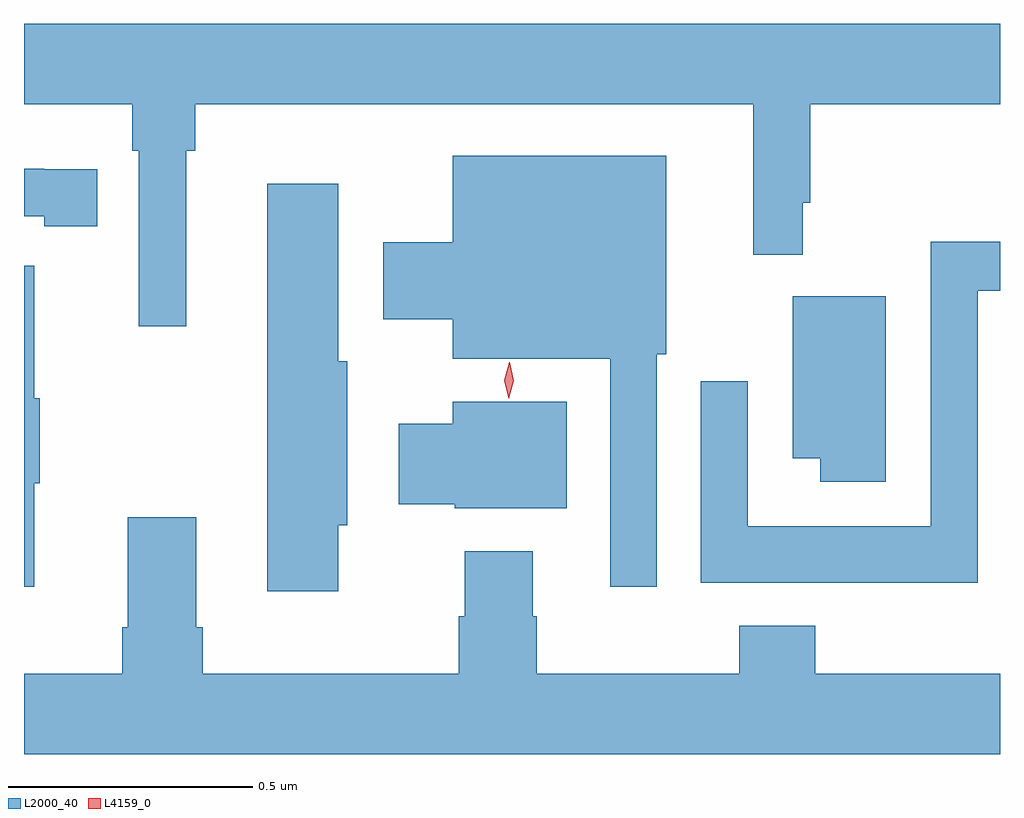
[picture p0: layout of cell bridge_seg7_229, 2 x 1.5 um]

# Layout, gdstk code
import gdstk
lib = gdstk.Library(unit=1e-6, precision=1e-09)
def P(c, l, *ps):  # polygons
    for p in ps: c.add(gdstk.Polygon(p, *l))
L2000_40 = (2000, 40)
L4159_0 = (4159, 0)

bridge_seg7_229 = lib.new_cell('bridge_seg7_229')
P(bridge_seg7_229, L2000_40, [(258.412,1004.516),(258.431,1004.516),(258.431,1004.612),(259.574,1004.612),(259.574,1004.303),(259.676,1004.303),(259.676,1004.41),(259.691,1004.41),(259.691,1004.612),(260.08,1004.612),(260.08,1004.776),(258.08,1004.776),(258.08,1004.612),(258.302,1004.612),(258.302,1004.516),(258.315,1004.516),(258.315,1004.157),(258.412,1004.157)],
  [(259.377,1004.099),(259.396,1004.099),(259.396,1004.506),(258.959,1004.506),(258.959,1004.329),(258.816,1004.329),(258.816,1004.171),(258.959,1004.171),(258.959,1004.09),(259.281,1004.09),(259.281,1003.623),(259.377,1003.623)],
  [(258.23,1004.478),(258.122,1004.478),(258.122,1004.479),(258.08,1004.479),(258.08,1004.382),(258.122,1004.382),(258.122,1004.362),(258.23,1004.362)],
  [(258.724,1003.749),(258.742,1003.749),(258.742,1004.085),(258.724,1004.085),(258.724,1004.449),(258.578,1004.449),(258.578,1003.614),(258.724,1003.614)],
  [(260.034,1004.229),(260.08,1004.229),(260.08,1004.33),(259.938,1004.33),(259.938,1003.747),(259.563,1003.747),(259.563,1004.044),(259.467,1004.044),(259.467,1003.631),(260.034,1003.631)],
  [(258.101,1003.835),(258.112,1003.835),(258.112,1004.009),(258.101,1004.009),(258.101,1004.281),(258.08,1004.281),(258.08,1003.623),(258.101,1003.623)],
  [(259.846,1004.218),(259.655,1004.218),(259.655,1003.886),(259.712,1003.886),(259.712,1003.838),(259.846,1003.838)],
  [(259.192,1004.002),(258.959,1004.002),(258.959,1003.957),(258.848,1003.957),(258.848,1003.792),(258.963,1003.792),(258.963,1003.784),(259.192,1003.784)],
  [(260.08,1003.444),(259.701,1003.444),(259.701,1003.543),(259.546,1003.543),(259.546,1003.444),(259.131,1003.444),(259.131,1003.562),(259.123,1003.562),(259.123,1003.696),(258.983,1003.696),(258.983,1003.562),(258.971,1003.562),(258.971,1003.444),(258.446,1003.444),(258.446,1003.54),(258.433,1003.54),(258.433,1003.765),(258.293,1003.765),(258.293,1003.54),(258.281,1003.54),(258.281,1003.444),(258.08,1003.444),(258.08,1003.28),(260.08,1003.28)])
P(bridge_seg7_229, L4159_0, [(259.073,1004.008),(259.073,1004.008),(259.064,1004.046),(259.074,1004.083),(259.074,1004.083),(259.075,1004.083),(259.084,1004.045),(259.073,1004.008)])

lib.write_gds('bridge_seg7_229.gds')
